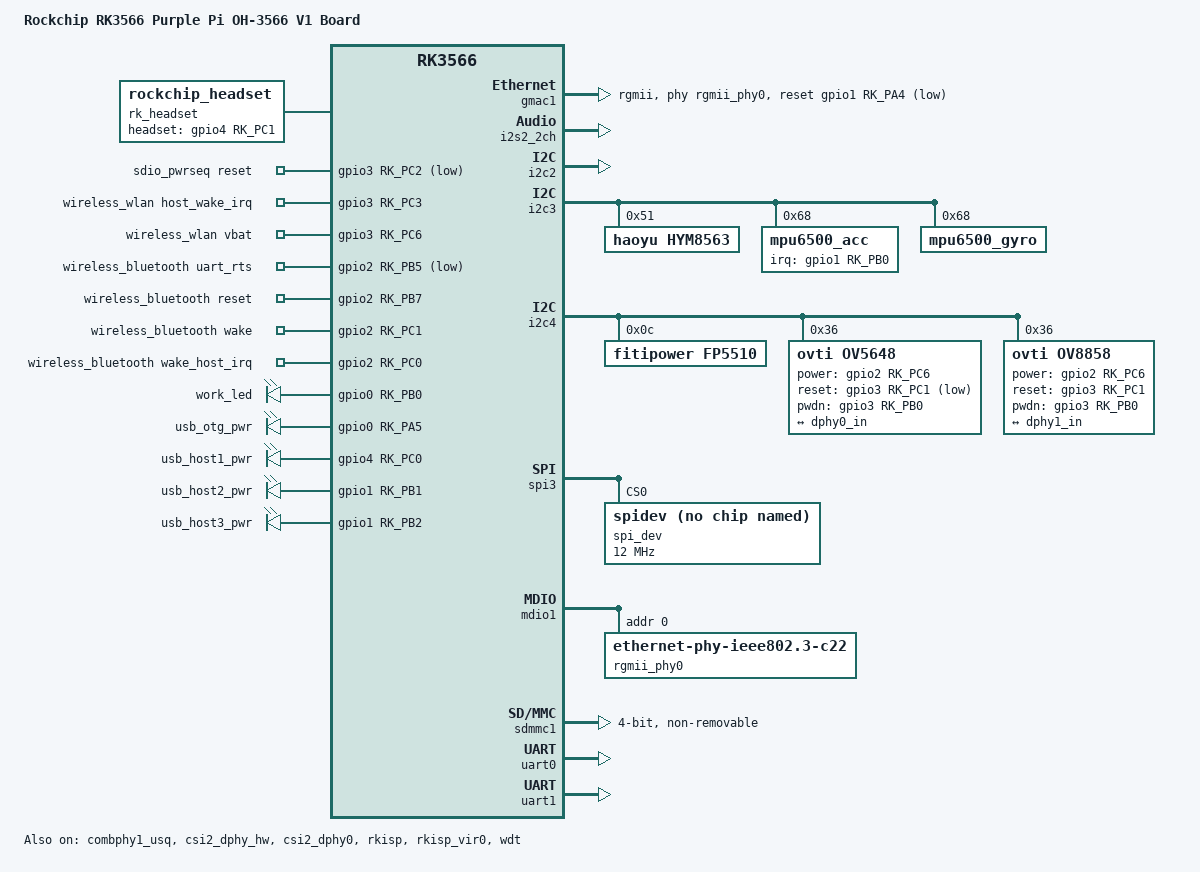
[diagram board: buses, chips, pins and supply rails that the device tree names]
// SPDX-License-Identifier: (GPL-2.0+ OR MIT)
/*
 * Copyright (c) 2020 Rockchip Electronics Co., Ltd.
 *
 */

/dts-v1/;

#include <dt-bindings/gpio/gpio.h>
#include <dt-bindings/display/media-bus-format.h>
#include <dt-bindings/pinctrl/rockchip.h>
#include "rk3566.dtsi"
#include "ido-pi-oh3566-core.dtsi"
#include "rk3568-linux.dtsi"

/ {
	model = "Rockchip RK3566 Purple Pi OH-3566 V1 Board";
	compatible = "rockchip,rk3566-evb2-lp4x-v10", "rockchip,rk3566";

	rk_headset: rk-headset {
		status = "okay";
		compatible = "rockchip_headset";
		headset_gpio = <&gpio4 RK_PC1 GPIO_ACTIVE_HIGH>;
		pinctrl-names = "default";
		pinctrl-0 = <&hp_det>;
	};

	bt-sound {
		compatible = "simple-audio-card";
		simple-audio-card,format = "dsp_b";
		simple-audio-card,bitclock-inversion = <1>;
		simple-audio-card,mclk-fs = <256>;
		simple-audio-card,name = "rockchip,bt";
		simple-audio-card,cpu {
				sound-dai = <&i2s2_2ch>;
		};
		sound2_master:simple-audio-card,codec {
				sound-dai = <&bt_sco>;
		};
	};

	bt_sco: bt-sco {
		compatible = "delta,dfbmcs320";
		#sound-dai-cells = <0>;
		status = "okay";
	};

	sdio_pwrseq: sdio-pwrseq {
		compatible = "mmc-pwrseq-simple";
		clocks = <&rk809 1>;
		clock-names = "ext_clock";
		pinctrl-names = "default";
		pinctrl-0 = <&wifi_enable_h>;

		/*
		 * On the module itself this is one of these (depending
		 * on the actual card populated):
		 * - SDIO_RESET_L_WL_REG_ON
		 * - PDN (power down when low)
		 */
		post-power-on-delay-ms = <200>;
		reset-gpios = <&gpio3 RK_PC2 GPIO_ACTIVE_LOW>;

		status = "okay";
	};

	wireless_wlan: wireless-wlan {
		compatible = "wlan-platdata";
		rockchip,grf = <&grf>;
		pinctrl-0 = <&wifi_host_wake_irq>;
		WIFI,host_wake_irq = <&gpio3 RK_PC3 GPIO_ACTIVE_HIGH>;
		WIFI,vbat_gpio = <&gpio3 RK_PC6 GPIO_ACTIVE_HIGH>;
		wifi_chip_type = "ap6398s";
		status = "okay";
	};

	wireless_bluetooth: wireless-bluetooth {
		compatible = "bluetooth-platdata";
		clocks = <&rk809 1>;
		clock-names = "ext_clock";
		//wifi-bt-power-toggle;
		uart_rts_gpios = <&gpio2 RK_PB5 GPIO_ACTIVE_LOW>;
		pinctrl-names = "default", "rts_gpio";
		pinctrl-0 = <&uart1m0_rtsn>;
		pinctrl-1 = <&uart1_gpios>;
		BT,reset_gpio    = <&gpio2 RK_PB7 GPIO_ACTIVE_HIGH>;
		BT,wake_gpio     = <&gpio2 RK_PC1 GPIO_ACTIVE_HIGH>;
		BT,wake_host_irq = <&gpio2 RK_PC0 GPIO_ACTIVE_HIGH>;
		status = "okay";
	};
	
	vcc3v3_lcd0_n: vcc3v3-lcd0-n {
		status = "disabled";
		compatible = "regulator-fixed";
		regulator-name = "vcc3v3_lcd0_n";
		regulator-boot-on;
		regulator-min-microvolt = <3300000>;
		regulator-max-microvolt = <3300000>;
		enable-active-high;
		gpio = <&gpio4 RK_PA1 GPIO_ACTIVE_HIGH>;
		vin-supply = <&vcc3v3_sys>;

		regulator-state-mem {
			regulator-off-in-suspend;
		};
	};

	backlight: backlight {
		status = "disabled";
		compatible = "pwm-backlight";
		pwms = <&pwm4 0 25000 0>;
		brightness-levels = <
			  0  20  20  21  21  22  22  23
			 23  24  24  25  25  26  26  27
			 27  28  28  29  29  30  30  31
			 31  32  32  33  33  34  34  35
			 35  36  36  37  37  38  38  39
			 40  41  42  43  44  45  46  47
			 48  49  50  51  52  53  54  55
			 56  57  58  59  60  61  62  63
			 64  65  66  67  68  69  70  71
			 72  73  74  75  76  77  78  79
			 80  81  82  83  84  85  86  87
			 88  89  90  91  92  93  94  95
			 96  97  98  99 100 101 102 103
			104 105 106 107 108 109 110 111
			112 113 114 115 116 117 118 119
			120 121 122 123 124 125 126 127
			128 129 130 131 132 133 134 135
			136 137 138 139 140 141 142 143
			144 145 146 147 148 149 150 151
			152 153 154 155 156 157 158 159
			160 161 162 163 164 165 166 167
			168 169 170 171 172 173 174 175
			176 177 178 179 180 181 182 183
			184 185 186 187 188 189 190 191
			192 193 194 195 196 197 198 199
			200 201 202 203 204 205 206 207
			208 209 210 211 212 213 214 215
			216 217 218 219 220 221 222 223
			224 225 226 227 228 229 230 231
			232 233 234 235 236 237 238 239
			240 241 242 243 244 245 246 247
			248 249 250 251 252 253 254 255
		>;
		default-brightness-level = <200>;
	};
	
	leds: leds {
		status = "okay";
		compatible = "gpio-leds";
		pinctrl-names = "default";
		pinctrl-0 =<&leds_gpio>;

		work_led: work {
			gpios = <&gpio0 RK_PB0 GPIO_ACTIVE_HIGH>;
			linux,default-trigger = "heartbeat";
		};

		usb_otg_pwr {
			gpios = <&gpio0 RK_PA5 GPIO_ACTIVE_HIGH>;
            		default-state="on";
		};

		usb_host1_pwr {
			gpios = <&gpio4 RK_PC0 GPIO_ACTIVE_HIGH>;
            		default-state="on";	
		};

		usb_host2_pwr {
			gpios = <&gpio1 RK_PB1 GPIO_ACTIVE_HIGH>;
            		default-state="on";	
		};

		usb_host3_pwr {
			gpios = <&gpio1 RK_PB2 GPIO_ACTIVE_HIGH>;
            		default-state="on";	
		};
	};
};

&combphy1_usq {
	status = "okay";
};

&csi2_dphy_hw {
	status = "okay";
};

&csi2_dphy0 {
	status = "okay";
	/*
	 * dphy0 only used for full mode,
	 * full mode and split mode are mutually exclusive
	 */
	ports {
		#address-cells = <1>;
		#size-cells = <0>;

		port@0 {
			reg = <0>;
			#address-cells = <1>;
			#size-cells = <0>;

			dphy0_in: endpoint@1 {
				reg = <1>;
				remote-endpoint = <&ov5648_out>;
				data-lanes = <1 2>;
			};

			dphy1_in: endpoint@2 {
				reg = <2>;
				remote-endpoint = <&ov8858_out>;
				data-lanes = <1 2 3 4>;
			};
		};

		port@1 {
			reg = <1>;
			#address-cells = <1>;
			#size-cells = <0>;

			dphy0_out: endpoint@1 {
				reg = <1>;
				remote-endpoint = <&isp0_in>;
			};
		};
	};
};

&gmac1 {
	phy-mode = "rgmii";
	//clock_in_out = "output";
	clock_in_out = "input";

	snps,reset-gpio = <&gpio1 RK_PA4 GPIO_ACTIVE_LOW>;
	snps,reset-active-low;
	/* Reset time is 20ms, 100ms for rtl8211f */
	// snps,reset-delays-us = <0 20000 100000>;
	snps,reset-delays-us = <0 50000 100000>;

	assigned-clocks = <&cru SCLK_GMAC1_RX_TX>, <&cru SCLK_GMAC1>;
	assigned-clock-parents = <&cru SCLK_GMAC1_RGMII_SPEED>, <&cru CLK_MAC1_2TOP>;
	assigned-clock-rates = <0>, <125000000>;

	pinctrl-names = "default";
	pinctrl-0 = <&gmac1m0_miim
		     &gmac1m0_tx_bus2
		     &gmac1m0_rx_bus2
		     &gmac1m0_rgmii_clk
		     &gmac1m0_rgmii_bus>;

	tx_delay = <0x32>;
	rx_delay = <0x26>;

	phy-handle = <&rgmii_phy0>;

	ido,shutdown-enable-wol;
	ido,enable-set-wol;
	status = "okay";
};

&i2s2_2ch {
	status = "okay";
};

&i2c2 {
	status = "okay";
	pinctrl-0 = <&i2c2m1_xfer>;
};

&i2c3 {
	status = "okay";

	pinctrl-0 = <&i2c3m0_xfer>;
	hym8563:hym8563@51 {
		compatible = "haoyu,hym8563";
		reg = <0x51>;
		#clock-cells = <0>;
		// clock-frequency = <32768>;
		// clock-output-names = "hym-xin32k";
		status = "okay";
	};

	mpu6500_acc: mpu_acc@68 {
		compatible = "mpu6500_acc";
		reg = <0x68>;
		pinctrl-0 = <&mpu6500_irq_gpio>;
		irq-gpio = <&gpio1 RK_PB0 IRQ_TYPE_EDGE_RISING>;
		irq_enable = <0>;
		poll_delay_ms = <30>;
		type = <SENSOR_TYPE_ACCEL>;
		layout = <2>;
		status = "okay";
	};

	mpu6500_gyro: mpu_gyro@68 {
		compatible = "mpu6500_gyro";
		reg = <0x68>;
		irq_enable = <0>;
		poll_delay_ms = <30>;
		type = <SENSOR_TYPE_GYROSCOPE>;
		layout = <2>;
		status = "okay";
	};
};

&i2c4 {
	status = "okay";
	pinctrl-0 = <&i2c4m1_xfer>;

	 fp5510: fp5510@c {
                compatible = "fitipower,fp5510";
                status = "okay";
                reg = <0x0c>;
                rockchip,camera-module-index = <0>;
                rockchip,camera-module-facing = "back";
        };
	
	vm149c: vm149c@0c {
                compatible = "silicon touch,vm149c";
                status = "disabled";
                reg = <0x0c>;
                rockchip,camera-module-index = <0>;
                rockchip,camera-module-facing = "back";
		rockchip,vcm-start-current = <10>;
		rockchip,vcm-rated-current = <85>;
		rockchip,vcm-step-mode = <4>;
        };

	ov5648: ov5648@36 {
		status = "okay";
		compatible = "ovti,ov5648";
		reg = <0x36>;
		clocks = <&cru CLK_CAM0_OUT>;
		clock-names = "xvclk";
		
		power-domains = <&power RK3568_PD_VI>;
		pinctrl-names = "default";
		pinctrl-0 = <&cam_clkout0>;
		//reset pin control by hardware,used this pin switch to mipi input
		//1->2LANE(LANE 0&1) FRONT camera, 0->4LANE REAR camera
		power-gpios = <&gpio2 RK_PC6 GPIO_ACTIVE_HIGH>;
		reset-gpios = <&gpio3 RK_PC1 GPIO_ACTIVE_LOW>;
		pwdn-gpios = <&gpio3 RK_PB0 GPIO_ACTIVE_HIGH>;
		rockchip,camera-module-index = <0>;
		rockchip,camera-module-facing = "back";

		rockchip,camera-module-name = "THDS11073";
		rockchip,camera-module-lens-name = "Largan-40122a1";
		lens-focus = <&fp5510>;
		port {
			ov5648_out: endpoint {
				remote-endpoint = <&dphy0_in>;
				data-lanes = <1 2>;
			};
		};
	};

	ov8858: ov8858@36 {
		status = "okay";
		compatible = "ovti,ov8858";
		reg = <0x36>;
		clocks = <&cru CLK_CAM0_OUT>;
		clock-names = "xvclk";
		power-domains = <&power RK3568_PD_VI>;
		pinctrl-names = "default";
		pinctrl-0 = <&cam_clkout0>;
		
		power-gpios = <&gpio2 RK_PC6 GPIO_ACTIVE_HIGH>;
		reset-gpios = <&gpio3 RK_PC1 GPIO_ACTIVE_HIGH>;
		pwdn-gpios = <&gpio3 RK_PB0 GPIO_ACTIVE_HIGH>;
		
		rockchip,camera-module-index = <1>;
		rockchip,camera-module-facing = "back";
		rockchip,camera-module-name = "HS5885-BNSM1018-V01";
		rockchip,camera-module-lens-name = "default";
		port {
			ov8858_out: endpoint {
				remote-endpoint = <&dphy1_in>;
				data-lanes = <1 2 3 4>;
			};			
		};
	};	
};

&spi3 {
	status = "okay";
	max-freq = <50000000>;
	pinctrl-0 = <&spi3m1_cs0 &spi3m1_pins>;
	pinctrl-1 = <&spi3m1_cs0 &spi3m1_pins_hs>;

	spi_dev@0 {
		compatible = "rockchip,spidev";
		reg = <0>;
		spi-max-frequency = <12000000>;
	};

};

&mdio1 {
	rgmii_phy0: phy@0 {
		compatible = "ethernet-phy-ieee802.3-c22";
		reg = <0x0>;
	};
};

&pinctrl {
	headphone {
		hp_det: hp-det {
			rockchip,pins = <4 RK_PC1 RK_FUNC_GPIO &pcfg_pull_none>;
		};
	};

	sdio-pwrseq {
		wifi_enable_h: wifi-enable-h {
			rockchip,pins = <3 RK_PC2 RK_FUNC_GPIO &pcfg_pull_none>;
		};
	};

	wireless-wlan {
		wifi_host_wake_irq: wifi-host-wake-irq {
			rockchip,pins = <3 RK_PC3 RK_FUNC_GPIO &pcfg_pull_down>,
							<3 RK_PC6 RK_FUNC_GPIO &pcfg_pull_none>;
		};
	};

	wireless-bluetooth {
		uart1_gpios: uart1-gpios {
			rockchip,pins = <2 RK_PB5 RK_FUNC_GPIO &pcfg_pull_none>;
		};
	};

	lcd0 {
		lcd0_rst_gpio: lcd0-rst-gpio {
			rockchip,pins = <0 RK_PD6 RK_FUNC_GPIO &pcfg_pull_none>;
		};
	};

	gpio-leds {
		leds_gpio: leds-gpio {
			rockchip,pins = <0 RK_PB0 RK_FUNC_GPIO &pcfg_pull_up>,
							<0 RK_PA5 RK_FUNC_GPIO &pcfg_pull_up>,
							<4 RK_PC0 RK_FUNC_GPIO &pcfg_pull_up>,
							<1 RK_PB1 RK_FUNC_GPIO &pcfg_pull_up>,
							<1 RK_PB2 RK_FUNC_GPIO &pcfg_pull_up>;
		};
	};

	mpu6500 {
		mpu6500_irq_gpio: mpu6500-irq-gpio {
			rockchip,pins = <1 RK_PB0 RK_FUNC_GPIO &pcfg_pull_none>;
		};
	};


};

&rkisp {
	status = "okay";
};

&rkisp_mmu {
	status = "okay";
};

&rkisp_vir0 {
	status = "okay";

	port {
		#address-cells = <1>;
		#size-cells = <0>;

		isp0_in: endpoint@0 {
			reg = <0>;
			remote-endpoint = <&dphy0_out>;
		};
	};
};

&sdmmc2 {
	status = "disabled";
};

&sdmmc1 {
	max-frequency = <150000000>;
	supports-sdio;
	bus-width = <4>;
	disable-wp;
	cap-sd-highspeed;
	cap-sdio-irq;
	keep-power-in-suspend;
	mmc-pwrseq = <&sdio_pwrseq>;
	non-removable;
	pinctrl-names = "default";
	pinctrl-0 = <&sdmmc1_bus4 &sdmmc1_cmd &sdmmc1_clk>;
	sd-uhs-sdr104;
	status = "okay";
};

&spdif_8ch {
	status = "disabled";
	pinctrl-names = "default";
	pinctrl-0 = <&spdifm1_tx>;
};

&uart0 {
	status = "okay";
	pinctrl-names = "default";
	pinctrl-0 = <&uart0_xfer>;
};

&uart1 {
	status = "okay";
	pinctrl-names = "default";
	pinctrl-0 = <&uart1m0_xfer &uart1m0_ctsn>;
};

&uart3 {
	status = "disabled";
	pinctrl-names = "default";
	pinctrl-0 = <&uart3m0_xfer>;
};

&uart7 {
	status = "disabled";
	pinctrl-names = "default";
	pinctrl-0 = <&uart7m2_xfer>;
};

&uart9 {
	status = "disabled";
	pinctrl-names = "default";
	pinctrl-0 = <&uart9m2_xfer>;
};

&wdt {
	status = "okay";
};
